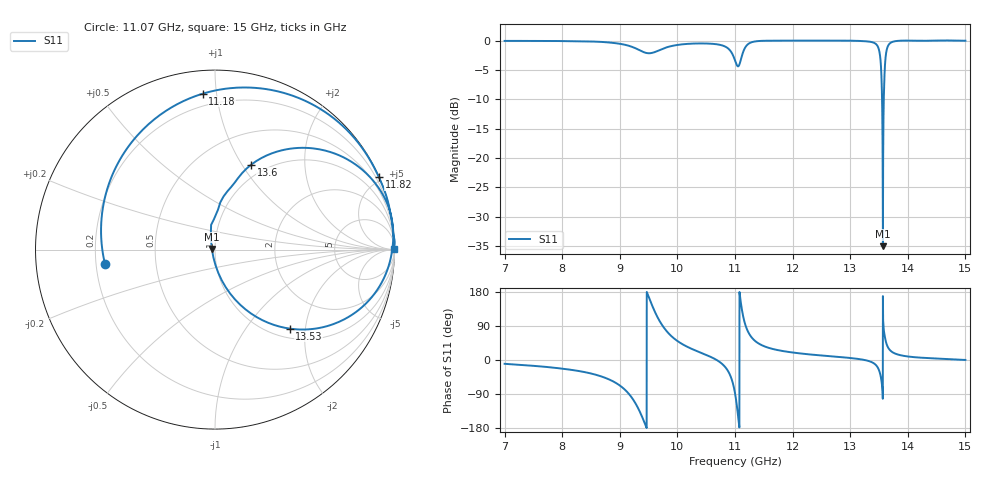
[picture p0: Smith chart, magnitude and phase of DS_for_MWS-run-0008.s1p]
! TOUCHSTONE file generated by CST DESIGN STUDIO
! Date and time: Mon Feb 10 16:44:14 2025
! Project name: C:\Work\MatlabApps\UnitCellType2OptimizationMatlab\CST\unitcell.cst
! Tree item: Tasks\Sweep1\SPara1\S-Parameters
! Header version: 2024
! Port assignment regex: !\s*Touchstone port\s*([0-9]+)\s*=\s*(CST MWS port|CST DES external port|CST DES block port)\s*(.+)\s* \(\"(.*)\"\)(\s*mode\s*([0-9]+))?.*
! Touchstone port assignment:
! Touchstone port 1 = CST DES external port 1 ("")
# GHz S MA R 50
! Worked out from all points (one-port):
!   4001 points, 7 GHz to 15 GHz, reference 50 ohm
!   lowest |S11| = -35.0 dB at 13.57 GHz (marker M1), VSWR 1.04, Z = 48.3 + j0.34 ohm
!   |S11| at or under -10 dB: 13.55308 GHz to 13.58303 GHz (29.95 MHz wide, 0.221 % of centre)
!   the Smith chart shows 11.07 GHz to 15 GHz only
!   S11 on the Smith chart (normalised r, x): 11.07 GHz: 0.24, -0.06; 11.18 GHz: 0.13, +0.92; 11.82 GHz: 0.02, +4.75; 13.53 GHz: 1.18, -1.64; 13.6 GHz: 0.85, +1.10; 15 GHz: open
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7  0.9931 -10.1
8  0.99 -22.8
8.624  0.9772 -40.7
9  0.9387 -67.3
9.264  0.8636 -112.3
9.468  0.7831 179.7
9.688  0.828 103.7
10  0.9177 50.2
10.76  0.9146 -8.2
10.904  0.8353 -36.3
11  0.6786 -87.4
11.072  0.6182 -172.6
11.128  0.764 125.8
11.176  0.8713 94.5
11.262  0.956 65.2
11.374  0.9871 47.2
11.824  0.9982 23.8
12  0.9996 19.8
13  0.9977 5.3
13.428  0.949 -10.7
13.504  0.8174 -28.4
13.534  0.6052 -46.7
13.568  0.0178 168.6
13.596  0.5153 66.9
13.632  0.8253 41.9
13.702  0.9575 24.3
14  0.9995 9.3
15  0.9967 0.2
